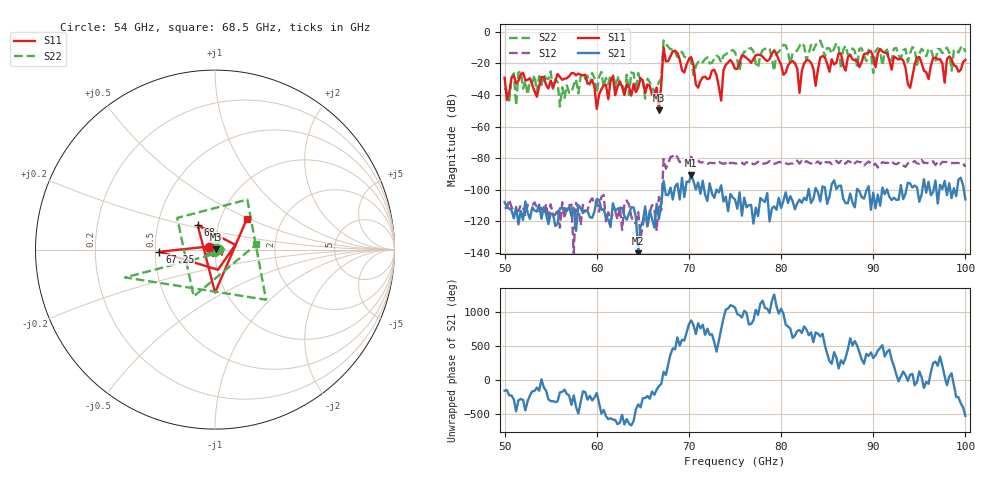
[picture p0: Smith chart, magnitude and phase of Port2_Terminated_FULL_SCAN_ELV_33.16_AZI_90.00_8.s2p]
! 11/25/2026 1:42:32 PM
! C:\ANRITSUVNA\TEMP\TEMP.S2P
! CHANNEL.1
! TR.MEASUREMENT
! RAW.DATA
# HZ S RI R 50.0
! FREQ.HZ  S11RE  S11IM  S21RE  S21IM  S12RE  S12IM  S22RE  S22IM
!; PortSelection: Port_12
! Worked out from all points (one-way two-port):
!   201 points, 50 GHz to 100 GHz, reference 50 ohm
!   highest |S21| = -90.73 dB at 70.25 GHz (marker M1); lowest = -140.0 dB at 64.5 GHz (marker M2)
!   lowest |S11| = -49.7 dB at 66.75 GHz (marker M3), VSWR 1.01, Z = 50.3 + j0.0706 ohm
!   |S11| at or under -10 dB: start of sweep to end of sweep
!   |S22| runs from -47.5 to -5.6 dB; largest |S21 - S12| = 0.00012
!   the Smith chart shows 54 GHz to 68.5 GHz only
!   S11 on the Smith chart (normalised r, x): 54 GHz: 0.93, +0.03; 67.25 GHz: 0.53, -0.01; 68 GHz: 0.80, +0.22; 68.5 GHz: 1.33, +0.49
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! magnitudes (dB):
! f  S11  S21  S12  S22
! 50 GHz  -29.1  -107.8  -111.7  -35.6
! 54 GHz  -28.7  -118.3  -111.3  -33.8
! 55 GHz  -30.9  -115.0  -109.1  -25.2
! 56 GHz  -28.6  -111.7  -124.0  -47.5
! 58.5 GHz  -27.7  -114.7  -109.5  -26.9
! 60 GHz  -48.9  -105.8  -107.0  -38.9
! 64.5 GHz  -35.4  -140.0  -114.1  -26.2
! 66.75 GHz  -49.7  -118.4  -104.5  -31.9
! 67.25 GHz  -10.2  -94.3  -80.5  -5.6
! 68 GHz  -15.5  -98.6  -79.2  -11.2
! 68.5 GHz  -12.1  -97.8  -77.5  -12.7
! 70.25 GHz  -16.1  -90.7  -79.1  -19.2
! 73.5 GHz  -43.6  -97.1  -83.1  -19.6
! 73.75 GHz  -24.3  -107.4  -83.5  -15.3
! 75 GHz  -23.5  -106.1  -83.3  -13.0
! 79.25 GHz  -11.8  -110.5  -83.5  -24.8
! 82 GHz  -38.7  -106.2  -83.5  -9.2
! 83.5 GHz  -23.3  -105.8  -82.3  -11.7
! 91.75 GHz  -18.1  -104.4  -83.2  -17.5
! 94 GHz  -35.6  -96.0  -82.7  -13.7
! 94.75 GHz  -16.5  -98.4  -83.3  -21.1
! 100 GHz  -17.9  -106.1  -85.5  -12.9
